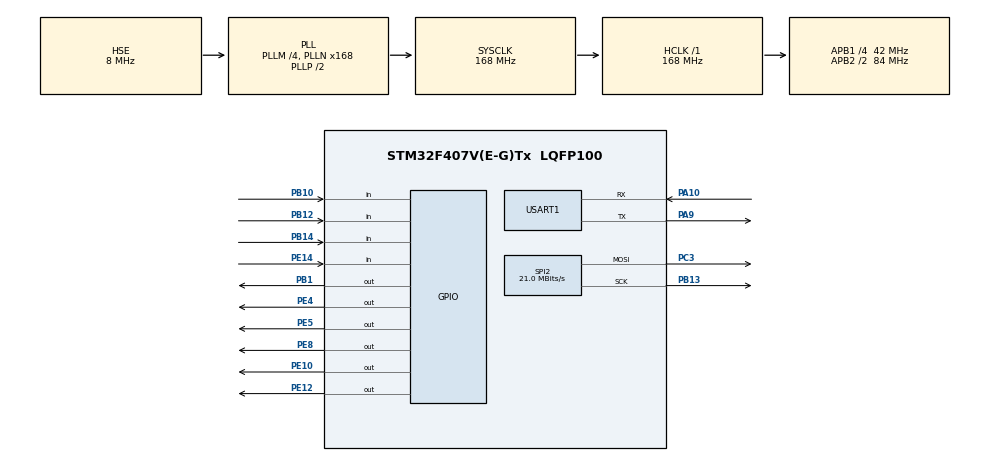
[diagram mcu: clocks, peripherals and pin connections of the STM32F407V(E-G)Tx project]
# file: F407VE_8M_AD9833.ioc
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Mcu.Family=STM32F4
Mcu.Name=STM32F407V(E-G)Tx
Mcu.Package=LQFP100
NVIC.PriorityGroup=NVIC_PRIORITYGROUP_4
NVIC.USART1_IRQn=true\:0\:0\:false\:false\:true\:true\:true
PA10.Mode=Asynchronous
PA10.Signal=USART1_RX
PA13.Mode=Serial_Wire
PA13.Signal=SYS_JTMS-SWDIO
PA14.Mode=Serial_Wire
PA14.Signal=SYS_JTCK-SWCLK
PA9.Mode=Asynchronous
PA9.Signal=USART1_TX
PB1.GPIO_ModeDefaultOutputPP=GPIO_MODE_OUTPUT_PP
PB1.GPIO_PuPd=GPIO_PULLUP
PB1.GPIO_Speed=GPIO_SPEED_FREQ_VERY_HIGH
PB1.PinState=GPIO_PIN_SET
PB1.Signal=GPIO_Output
PB10.GPIO_Mode=GPIO_MODE_INPUT
PB10.GPIO_PuPd=GPIO_PULLDOWN
PB10.Signal=GPIO_Input
PB12.GPIO_Mode=GPIO_MODE_INPUT
PB12.GPIO_PuPd=GPIO_PULLDOWN
PB12.Signal=GPIO_Input
PB13.GPIO_PuPd=GPIO_PULLUP
PB13.Mode=TX_Only_Simplex_Unidirect_Master
PB13.Signal=SPI2_SCK
PB14.GPIO_Mode=GPIO_MODE_INPUT
PB14.GPIO_PuPd=GPIO_PULLDOWN
PB14.Signal=GPIO_Input
PC14-OSC32_IN.Mode=LSE-External-Oscillator
PC14-OSC32_IN.Signal=RCC_OSC32_IN
PC15-OSC32_OUT.Mode=LSE-External-Oscillator
PC15-OSC32_OUT.Signal=RCC_OSC32_OUT
PC3.Mode=TX_Only_Simplex_Unidirect_Master
PC3.Signal=SPI2_MOSI
PE10.GPIO_ModeDefaultOutputPP=GPIO_MODE_OUTPUT_PP
PE10.GPIO_PuPd=GPIO_PULLUP
PE10.GPIO_Speed=GPIO_SPEED_FREQ_VERY_HIGH
PE10.PinState=GPIO_PIN_SET
PE10.Signal=GPIO_Output
PE12.GPIO_ModeDefaultOutputPP=GPIO_MODE_OUTPUT_PP
PE12.GPIO_PuPd=GPIO_PULLUP
PE12.GPIO_Speed=GPIO_SPEED_FREQ_VERY_HIGH
PE12.PinState=GPIO_PIN_SET
PE12.Signal=GPIO_Output
PE14.GPIO_Mode=GPIO_MODE_INPUT
PE14.GPIO_PuPd=GPIO_PULLDOWN
PE14.Signal=GPIO_Input
PE4.GPIO_ModeDefaultOutputPP=GPIO_MODE_OUTPUT_PP
PE4.GPIO_PuPd=GPIO_PULLUP
PE4.GPIO_Speed=GPIO_SPEED_FREQ_VERY_HIGH
PE4.PinState=GPIO_PIN_SET
PE4.Signal=GPIO_Output
PE5.GPIO_ModeDefaultOutputPP=GPIO_MODE_OUTPUT_PP
PE5.GPIO_PuPd=GPIO_PULLUP
PE5.GPIO_Speed=GPIO_SPEED_FREQ_VERY_HIGH
PE5.PinState=GPIO_PIN_SET
PE5.Signal=GPIO_Output
PE8.GPIO_ModeDefaultOutputPP=GPIO_MODE_OUTPUT_PP
PE8.GPIO_PuPd=GPIO_PULLUP
PE8.GPIO_Speed=GPIO_SPEED_FREQ_VERY_HIGH
PE8.PinState=GPIO_PIN_SET
PE8.Signal=GPIO_Output
PH0-OSC_IN.Mode=HSE-External-Oscillator
PH0-OSC_IN.Signal=RCC_OSC_IN
PH1-OSC_OUT.Mode=HSE-External-Oscillator
PH1-OSC_OUT.Signal=RCC_OSC_OUT
ProjectManager.HeapSize=0x200
ProjectManager.StackSize=0x400
ProjectManager.TargetToolchain=MDK-ARM V5.32
RCC.48MHZClocksFreq_Value=84000000
RCC.AHBFreq_Value=168000000
RCC.APB1CLKDivider=RCC_HCLK_DIV4
RCC.APB1Freq_Value=42000000
RCC.APB1TimFreq_Value=84000000
RCC.APB2CLKDivider=RCC_HCLK_DIV2
RCC.APB2Freq_Value=84000000
RCC.APB2TimFreq_Value=168000000
RCC.CortexFreq_Value=168000000
RCC.HCLKFreq_Value=168000000
RCC.HSE_VALUE=8000000
RCC.HSI_VALUE=16000000
RCC.PLLM=4
RCC.PLLN=168
RCC.PLLSourceVirtual=RCC_PLLSOURCE_HSE
RCC.SYSCLKFreq_VALUE=168000000
RCC.SYSCLKSource=RCC_SYSCLKSOURCE_PLLCLK
RCC.VCOOutputFreq_Value=336000000
SPI2.BaudRatePrescaler=SPI_BAUDRATEPRESCALER_2
SPI2.CLKPhase=SPI_PHASE_1EDGE
SPI2.CLKPolarity=SPI_POLARITY_HIGH
SPI2.CalculateBaudRate=21.0 MBits/s
SPI2.DataSize=SPI_DATASIZE_16BIT
SPI2.Direction=SPI_DIRECTION_2LINES
SPI2.Mode=SPI_MODE_MASTER
SPI2.VirtualType=VM_MASTER
USART1.VirtualMode=VM_ASYNC
board=custom

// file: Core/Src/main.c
/* USER CODE BEGIN Header */
/**
  ******************************************************************************
  * @file           : main.c
  * @brief          : Main program body
  ******************************************************************************
  * @attention
  *
  * <h2><center>&copy; Copyright (c) 2020 STMicroelectronics.
  * All rights reserved.</center></h2>
  *
  * This software component is licensed by ST under BSD 3-Clause license,
  * the "License"; You may not use this file except in compliance with the
  * License. You may obtain a copy of the License at:
  *                        opensource.org/licenses/BSD-3-Clause
  *
  ******************************************************************************
  */
/* USER CODE END Header */
#include "main.h"
#include "spi.h"
#include "usart.h"
#include "gpio.h"

/* USER CODE BEGIN Includes */
#include "DELAY/delay.h"
#include "AD9833/ad9833.h"
/* USER CODE END Includes */

/* USER CODE BEGIN PV */
uint16_t testData[7]={0x2100,0x50C7,0x4000,0xC000,0x2000};
/* USER CODE END PV */

void SystemClock_Config(void);

int main(void)
{
  /* USER CODE BEGIN 1 */
  uint8_t type=0;
  /* USER CODE END 1 */

  /* MCU Configuration--------------------------------------------------------*/

  /* Reset of all peripherals, Initializes the Flash interface and the Systick. */
  HAL_Init();

  /* Configure the system clock */
  SystemClock_Config();

  /* Initialize all configured peripherals */
  MX_GPIO_Init();
  MX_USART1_UART_Init();
  MX_SPI2_Init();
  /* USER CODE BEGIN 2 */
  Delay_Init(168);
  AD9833_Init(&hspi2);
  Delay_ms(1500);

  AD9833_SetFreq(400,0);
  AD9833_SetWaveType(AD9833_Square);
  Delay_ms(3000);

  AD9833_SetFreqConfMode(AD9833_LSB);
  AD9833_SetFreqLSB(1234567,0);
  Delay_ms(3000);

  AD9833_SetFreqConfMode(AD9833_MSB);
  AD9833_SetFreqMSB(1357901,0);
  Delay_ms(3000);
  /* USER CODE END 2 */

  /* Infinite loop */
  /* USER CODE BEGIN WHILE */
  AD9833_SetFreq(3000000,1);
  AD9833_SetFreqConfMode(AD9833_Full);
  AD9833_SelectReg(1,0);
  Delay_ms(3000);
  while (1)
  {
    /* USER CODE END WHILE */

    /* USER CODE BEGIN 3 */
    type%=4;
    AD9833_SetWaveType((AD9833_WaveType)(++type));
    Delay_ms(2000);
  }
  /* USER CODE END 3 */
}

void SystemClock_Config(void)
{
  RCC_OscInitTypeDef RCC_OscInitStruct = {0};
  RCC_ClkInitTypeDef RCC_ClkInitStruct = {0};

  /** Configure the main internal regulator output voltage
  */
  __HAL_RCC_PWR_CLK_ENABLE();
  __HAL_PWR_VOLTAGESCALING_CONFIG(PWR_REGULATOR_VOLTAGE_SCALE1);
  /** Initializes the RCC Oscillators according to the specified parameters
  * in the RCC_OscInitTypeDef structure.
  */
  RCC_OscInitStruct.OscillatorType = RCC_OSCILLATORTYPE_HSE;
  RCC_OscInitStruct.HSEState = RCC_HSE_ON;
  RCC_OscInitStruct.PLL.PLLState = RCC_PLL_ON;
  RCC_OscInitStruct.PLL.PLLSource = RCC_PLLSOURCE_HSE;
  RCC_OscInitStruct.PLL.PLLM = 4;
  RCC_OscInitStruct.PLL.PLLN = 168;
  RCC_OscInitStruct.PLL.PLLP = RCC_PLLP_DIV2;
  RCC_OscInitStruct.PLL.PLLQ = 4;
  if (HAL_RCC_OscConfig(&RCC_OscInitStruct) != HAL_OK)
  {
    Error_Handler();
  }
  /** Initializes the CPU, AHB and APB buses clocks
  */
  RCC_ClkInitStruct.ClockType = RCC_CLOCKTYPE_HCLK|RCC_CLOCKTYPE_SYSCLK
                              |RCC_CLOCKTYPE_PCLK1|RCC_CLOCKTYPE_PCLK2;
  RCC_ClkInitStruct.SYSCLKSource = RCC_SYSCLKSOURCE_PLLCLK;
  RCC_ClkInitStruct.AHBCLKDivider = RCC_SYSCLK_DIV1;
  RCC_ClkInitStruct.APB1CLKDivider = RCC_HCLK_DIV4;
  RCC_ClkInitStruct.APB2CLKDivider = RCC_HCLK_DIV2;

  if (HAL_RCC_ClockConfig(&RCC_ClkInitStruct, FLASH_LATENCY_5) != HAL_OK)
  {
    Error_Handler();
  }
}

void Error_Handler(void)
{
}

/************************ (C) COPYRIGHT STMicroelectronics *****END OF FILE****/
